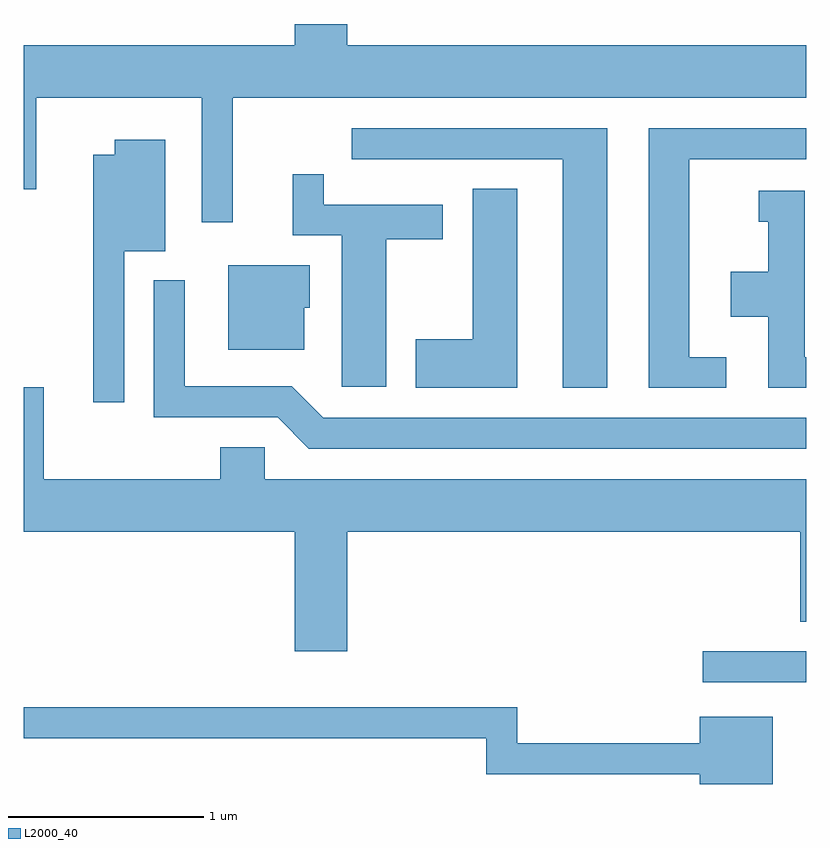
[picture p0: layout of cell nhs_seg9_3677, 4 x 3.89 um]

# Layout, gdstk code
import gdstk
lib = gdstk.Library(unit=1e-6, precision=1e-09)
def R(c, l, rs):  # rectangles x0, y0, x1, y1
    for r in rs: c.add(gdstk.rectangle(r[:2], r[2:], *l))
def P(c, l, *ps):  # polygons
    for p in ps: c.add(gdstk.Polygon(p, *l))
L2000_40 = (2000, 40)

nhs_seg9_3677 = lib.new_cell('nhs_seg9_3677')
R(nhs_seg9_3677, L2000_40, [(297.083,1971.066,297.611,1971.224)])
P(nhs_seg9_3677, L2000_40, [(294.679,1974.056),(297.611,1974.056),(297.611,1974.324),(295.264,1974.324),(295.264,1974.432),(294.996,1974.432),(294.996,1974.324),(293.611,1974.324),(293.611,1973.588),(293.674,1973.588),(293.674,1974.056),(294.521,1974.056),(294.521,1973.418),(294.679,1973.418)],
  [(297.203,1972.729),(297.014,1972.729),(297.014,1973.741),(297.611,1973.741),(297.611,1973.899),(296.806,1973.899),(296.806,1972.571),(297.203,1972.571)],
  [(296.594,1973.899),(295.288,1973.899),(295.288,1973.741),(296.366,1973.741),(296.366,1972.571),(296.594,1972.571)],
  [(294.124,1973.271),(294.334,1973.271),(294.334,1973.839),(294.076,1973.839),(294.076,1973.764),(293.966,1973.764),(293.966,1972.498),(294.124,1972.498)],
  [(295.464,1973.331),(295.754,1973.331),(295.754,1973.509),(295.144,1973.509),(295.144,1973.663),(294.986,1973.663),(294.986,1973.351),(295.236,1973.351),(295.236,1972.576),(295.464,1972.576)],
  [(296.134,1973.589),(295.906,1973.589),(295.906,1972.819),(295.616,1972.819),(295.616,1972.571),(296.134,1972.571)],
  [(297.611,1972.729),(297.604,1972.729),(297.604,1973.579),(297.368,1973.579),(297.368,1973.421),(297.416,1973.421),(297.416,1973.164),(297.226,1973.164),(297.226,1972.936),(297.416,1972.936),(297.416,1972.571),(297.611,1972.571)],
  [(295.044,1972.981),(295.074,1972.981),(295.074,1973.199),(294.656,1973.199),(294.656,1972.766),(295.044,1972.766)],
  [(297.611,1972.419),(295.142,1972.419),(294.982,1972.579),(294.434,1972.579),(294.434,1973.123),(294.276,1973.123),(294.276,1972.421),(294.909,1972.421),(295.069,1972.261),(297.611,1972.261)],
  [(295.264,1971.836),(297.581,1971.836),(297.581,1971.376),(297.611,1971.376),(297.611,1972.104),(294.844,1972.104),(294.844,1972.269),(294.616,1972.269),(294.616,1972.104),(293.714,1972.104),(293.714,1972.574),(293.611,1972.574),(293.611,1971.836),(294.996,1971.836),(294.996,1971.226),(295.264,1971.226)],
  [(297.439,1970.889),(297.066,1970.889),(297.066,1970.754),(296.134,1970.754),(296.134,1970.939),(293.611,1970.939),(293.611,1970.781),(295.976,1970.781),(295.976,1970.596),(297.066,1970.596),(297.066,1970.546),(297.439,1970.546)])

lib.write_gds('nhs_seg9_3677.gds')
